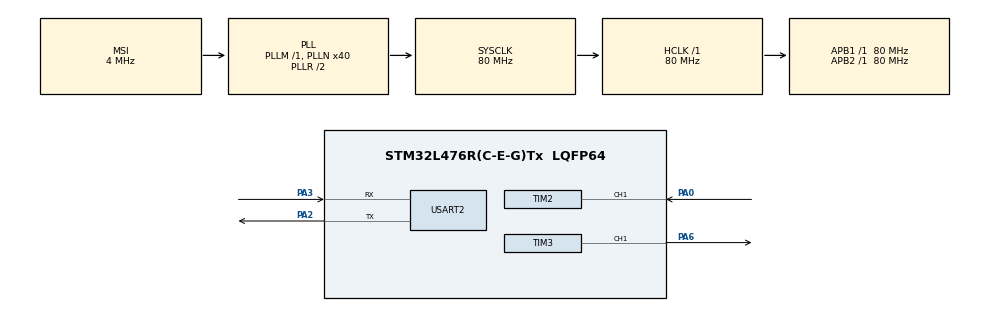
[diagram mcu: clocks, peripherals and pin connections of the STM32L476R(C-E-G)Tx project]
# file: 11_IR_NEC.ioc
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Dma.Request0=TIM3_CH1/TRIG
Dma.TIM3_CH1/TRIG.0.Direction=DMA_MEMORY_TO_PERIPH
Dma.TIM3_CH1/TRIG.0.Instance=DMA1_Channel6
Dma.TIM3_CH1/TRIG.0.MemDataAlignment=DMA_MDATAALIGN_BYTE
Dma.TIM3_CH1/TRIG.0.MemInc=DMA_MINC_ENABLE
Dma.TIM3_CH1/TRIG.0.Mode=DMA_NORMAL
Dma.TIM3_CH1/TRIG.0.PeriphDataAlignment=DMA_PDATAALIGN_HALFWORD
Dma.TIM3_CH1/TRIG.0.PeriphInc=DMA_PINC_DISABLE
Dma.TIM3_CH1/TRIG.0.Priority=DMA_PRIORITY_LOW
Mcu.Family=STM32L4
Mcu.Name=STM32L476R(C-E-G)Tx
Mcu.Package=LQFP64
NVIC.DMA1_Channel6_IRQn=true\:0\:0\:false\:false\:true\:false\:true\:true
NVIC.PriorityGroup=NVIC_PRIORITYGROUP_4
NVIC.TIM2_IRQn=true\:0\:0\:false\:false\:true\:true\:true\:true
PA0.Signal=S_TIM2_CH1
PA13\ (JTMS-SWDIO).Mode=Serial_Wire
PA13\ (JTMS-SWDIO).Signal=SYS_JTMS-SWDIO
PA14\ (JTCK-SWCLK).Mode=Serial_Wire
PA14\ (JTCK-SWCLK).Signal=SYS_JTCK-SWCLK
PA2.Mode=Asynchronous
PA2.Signal=USART2_TX
PA3.Mode=Asynchronous
PA3.Signal=USART2_RX
PA6.Signal=S_TIM3_CH1
ProjectManager.HeapSize=0x200
ProjectManager.StackSize=0x400
ProjectManager.TargetToolchain=STM32CubeIDE
RCC.AHBFreq_Value=80000000
RCC.APB1Freq_Value=80000000
RCC.APB1TimFreq_Value=80000000
RCC.APB2Freq_Value=80000000
RCC.APB2TimFreq_Value=80000000
RCC.CortexFreq_Value=80000000
RCC.HCLKFreq_Value=80000000
RCC.HSE_VALUE=8000000
RCC.HSI_VALUE=16000000
RCC.LSE_VALUE=32768
RCC.MSI_VALUE=4000000
RCC.PLLN=40
RCC.SYSCLKFreq_VALUE=80000000
RCC.SYSCLKSource=RCC_SYSCLKSOURCE_PLLCLK
RCC.VCOOutputFreq_Value=160000000
SH.S_TIM2_CH1.0=TIM2_CH1,TriggerSource_TI1ED
SH.S_TIM2_CH1.1=TIM2_CH1,Input_Capture1_from_TI1
SH.S_TIM3_CH1.0=TIM3_CH1,PWM Generation1 CH1
TIM2.Channel-Input_Capture1_from_TI1=TIM_CHANNEL_1
TIM2.ICPolarity_CH1=TIM_INPUTCHANNELPOLARITY_FALLING
TIM2.Prescaler=79
TIM3.Channel-PWM\ Generation1\ CH1=TIM_CHANNEL_1
TIM3.Period=99
USART2.VirtualMode-Asynchronous=VM_ASYNC
VP_TIM2_VS_ClockSourceINT.Mode=Internal
VP_TIM2_VS_ControllerModeReset.Mode=Reset Mode
VP_TIM3_VS_ClockSourceINT.Mode=Internal
board=custom

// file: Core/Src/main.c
/* USER CODE BEGIN Header */
/**
  ******************************************************************************
  * @file           : main.c
  * @brief          : Main program body
  ******************************************************************************
  * @attention
  *
  * Copyright (c) 2026 STMicroelectronics.
  * All rights reserved.
  *
  * This software is licensed under terms that can be found in the LICENSE file
  * in the root directory of this software component.
  * If no LICENSE file comes with this software, it is provided AS-IS.
  *
  ******************************************************************************
  */
/* USER CODE END Header */
#include "main.h"
#include "dma.h"
#include "tim.h"
#include "usart.h"
#include "gpio.h"

/* USER CODE BEGIN Includes */
#include <stdio.h>
#include "ir.h"
#include "ws2818b.h"
/* USER CODE END Includes */

void SystemClock_Config(void);

/* USER CODE BEGIN 0 */
int __io_putchar(int ch)
{
  if (ch == '\n') {
    __io_putchar('\r');
  }

  HAL_UART_Transmit(&huart2, (uint8_t*)&ch, 1, HAL_MAX_DELAY);

  return 1;
}

void HAL_TIM_IC_CaptureCallback(TIM_HandleTypeDef *htim)
{
  if (htim == &htim2) {
    switch (HAL_TIM_GetActiveChannel(&htim2)) {
      case HAL_TIM_ACTIVE_CHANNEL_1:
    	  ir_tim_interrupt();
        break;
      default:
        break;
    }
  }
}
/* USER CODE END 0 */

int main(void)
{

  /* MCU Configuration--------------------------------------------------------*/

  /* Reset of all peripherals, Initializes the Flash interface and the Systick. */
  HAL_Init();

  /* Configure the system clock */
  SystemClock_Config();

  /* Initialize all configured peripherals */
  MX_GPIO_Init();
  MX_DMA_Init();
  MX_USART2_UART_Init();
  MX_TIM2_Init();
  MX_TIM3_Init();
  /* USER CODE BEGIN 2 */
  HAL_TIM_Base_Start(&htim2);
  HAL_TIM_IC_Start_IT(&htim2, TIM_CHANNEL_1);

  ws2812b_init();
  ir_init();

  int base_r = 255, base_g = 0, base_b = 0;
  int led_count = 1;
  int brightness_step = 5;
  const int MAX_LEDS = 7;
  /* USER CODE END 2 */

  /* Infinite loop */
  /* USER CODE BEGIN WHILE */
  while (1)
  {
	  int value = ir_read();
	  if(value != -1){
		  switch(value){
		  case IR_CODE_0:
			  led_count++;
			  if(led_count > MAX_LEDS){
				  led_count = 1;
			  }
			  break;
		  case IR_CODE_1:
			  base_r = 255; base_g = 0; base_b = 0;
			  break;
		  case IR_CODE_2:
			  base_r = 0; base_g = 255; base_b = 0;
			  break;
		  case IR_CODE_3:
			  base_r = 0; base_g = 0; base_b = 255;
			  break;
		  case IR_CODE_4:
			  if(brightness_step > 1){
				  brightness_step--;
			  }
			  break;
		  case IR_CODE_6:
			  if(brightness_step < 10){
				  brightness_step++;
			  }
			  break;
		  case IR_CODE_ONOFF:
			  ws2812b_set_color(0, 0, 0, 0);
			  ws2812b_update();
			  break;
		  }

		  float brightness_factor = (float)brightness_step / 10.0f;

		  uint8_t final_r = (base_r * brightness_factor);
		  uint8_t final_g = (base_g * brightness_factor);
		  uint8_t final_b = (base_b * brightness_factor);

		  for(int i = 0; i < led_count; i++){
			  ws2812b_set_color(i, final_r, final_g, final_b);
		  }
		  for(int i = led_count; i < MAX_LEDS; i++){
			  ws2812b_set_color(i, 0, 0, 0);
		  }

		  ws2812b_update();
	  }
    /* USER CODE END WHILE */

  }
}

void SystemClock_Config(void)
{
  RCC_OscInitTypeDef RCC_OscInitStruct = {0};
  RCC_ClkInitTypeDef RCC_ClkInitStruct = {0};

  /** Configure the main internal regulator output voltage
  */
  if (HAL_PWREx_ControlVoltageScaling(PWR_REGULATOR_VOLTAGE_SCALE1) != HAL_OK)
  {
    Error_Handler();
  }

  /** Initializes the RCC Oscillators according to the specified parameters
  * in the RCC_OscInitTypeDef structure.
  */
  RCC_OscInitStruct.OscillatorType = RCC_OSCILLATORTYPE_MSI;
  RCC_OscInitStruct.MSIState = RCC_MSI_ON;
  RCC_OscInitStruct.MSICalibrationValue = 0;
  RCC_OscInitStruct.MSIClockRange = RCC_MSIRANGE_6;
  RCC_OscInitStruct.PLL.PLLState = RCC_PLL_ON;
  RCC_OscInitStruct.PLL.PLLSource = RCC_PLLSOURCE_MSI;
  RCC_OscInitStruct.PLL.PLLM = 1;
  RCC_OscInitStruct.PLL.PLLN = 40;
  RCC_OscInitStruct.PLL.PLLP = RCC_PLLP_DIV7;
  RCC_OscInitStruct.PLL.PLLQ = RCC_PLLQ_DIV2;
  RCC_OscInitStruct.PLL.PLLR = RCC_PLLR_DIV2;
  if (HAL_RCC_OscConfig(&RCC_OscInitStruct) != HAL_OK)
  {
    Error_Handler();
  }

  /** Initializes the CPU, AHB and APB buses clocks
  */
  RCC_ClkInitStruct.ClockType = RCC_CLOCKTYPE_HCLK|RCC_CLOCKTYPE_SYSCLK
                              |RCC_CLOCKTYPE_PCLK1|RCC_CLOCKTYPE_PCLK2;
  RCC_ClkInitStruct.SYSCLKSource = RCC_SYSCLKSOURCE_PLLCLK;
  RCC_ClkInitStruct.AHBCLKDivider = RCC_SYSCLK_DIV1;
  RCC_ClkInitStruct.APB1CLKDivider = RCC_HCLK_DIV1;
  RCC_ClkInitStruct.APB2CLKDivider = RCC_HCLK_DIV1;

  if (HAL_RCC_ClockConfig(&RCC_ClkInitStruct, FLASH_LATENCY_4) != HAL_OK)
  {
    Error_Handler();
  }
}

void Error_Handler(void)
{
  __disable_irq();
  while (1)
  {
  }
}
